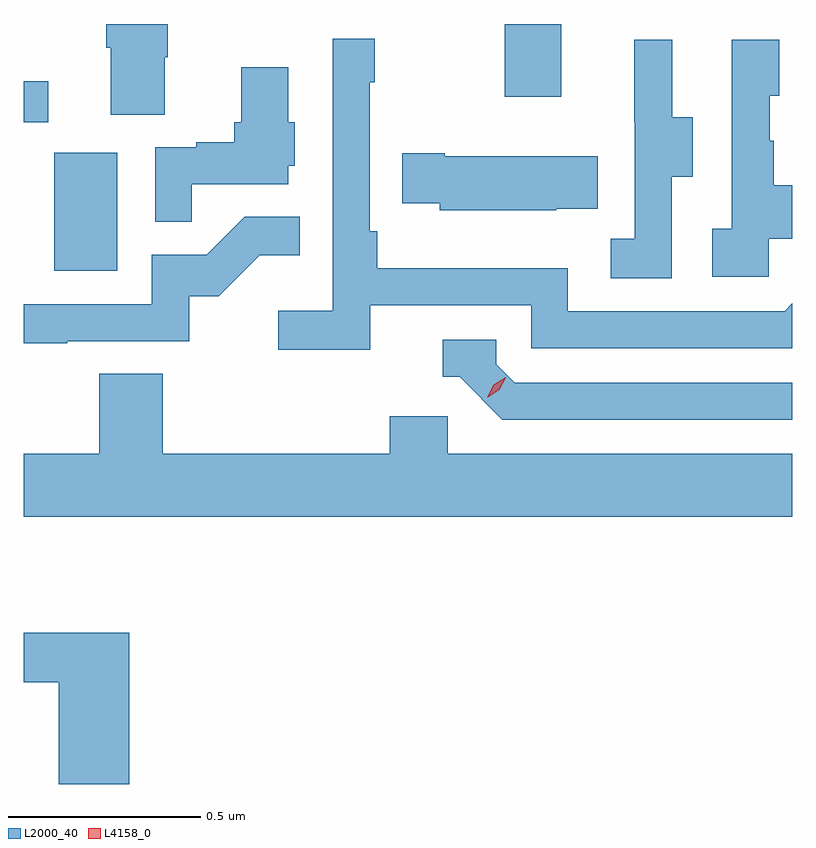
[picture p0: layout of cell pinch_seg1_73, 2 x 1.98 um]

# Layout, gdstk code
import gdstk
lib = gdstk.Library(unit=1e-6, precision=1e-09)
def R(c, l, rs):  # rectangles x0, y0, x1, y1
    for r in rs: c.add(gdstk.rectangle(r[:2], r[2:], *l))
def P(c, l, *ps):  # polygons
    for p in ps: c.add(gdstk.Polygon(p, *l))
L2000_40 = (2000, 40)
L4158_0 = (4158, 0)

pinch_seg1_73 = lib.new_cell('pinch_seg1_73')
R(pinch_seg1_73, L2000_40, [(1038.002,576.348,1038.166,576.655), (1037.922,576.735,1037.986,576.841), (1039.174,576.801,1039.321,576.99)])
P(pinch_seg1_73, L2000_40, [(1038.289,576.903),(1038.297,576.903),(1038.297,576.99),(1038.137,576.99),(1038.137,576.928),(1038.149,576.928),(1038.149,576.754),(1038.289,576.754)],
  [(1038.824,576.258),(1039.242,576.258),(1039.242,576.147),(1039.922,576.147),(1039.922,576.263),(1039.902,576.243),(1039.338,576.243),(1039.338,576.355),(1038.842,576.355),(1038.842,576.451),(1038.822,576.451),(1038.822,576.839),(1038.835,576.839),(1038.835,576.952),(1038.726,576.952),(1038.726,576.244),(1038.585,576.244),(1038.585,576.142),(1038.824,576.142)],
  [(1039.608,576.592),(1039.663,576.592),(1039.663,576.747),(1039.609,576.747),(1039.609,576.949),(1039.511,576.949),(1039.511,576.735),(1039.512,576.735),(1039.512,576.431),(1039.449,576.431),(1039.449,576.328),(1039.608,576.328)],
  [(1039.86,576.431),(1039.922,576.431),(1039.922,576.571),(1039.873,576.571),(1039.873,576.686),(1039.863,576.686),(1039.863,576.804),(1039.888,576.804),(1039.888,576.949),(1039.764,576.949),(1039.764,576.458),(1039.713,576.458),(1039.713,576.333),(1039.86,576.333)],
  [(1038.359,576.573),(1038.61,576.573),(1038.61,576.621),(1038.628,576.621),(1038.628,576.735),(1038.61,576.735),(1038.61,576.877),(1038.488,576.877),(1038.488,576.735),(1038.47,576.735),(1038.47,576.682),(1038.371,576.682),(1038.371,576.669),(1038.264,576.669),(1038.264,576.475),(1038.359,576.475)],
  [(1039.307,576.509),(1039.415,576.509),(1039.415,576.646),(1039.018,576.646),(1039.018,576.654),(1038.907,576.654),(1038.907,576.524),(1039.005,576.524),(1039.005,576.506),(1039.307,576.506)],
  [(1038.035,576.165),(1038.353,576.165),(1038.353,576.282),(1038.43,576.282),(1038.537,576.389),(1038.641,576.389),(1038.641,576.488),(1038.497,576.488),(1038.399,576.39),(1038.255,576.39),(1038.255,576.261),(1037.922,576.261),(1037.922,576.16),(1038.035,576.16)],
  [(1039.922,576.057),(1039.2,576.057),(1039.152,576.105),(1039.152,576.168),(1039.013,576.168),(1039.013,576.072),(1039.056,576.072),(1039.167,575.961),(1039.922,575.961)],
  [(1039.922,575.872),(1039.026,575.872),(1039.026,575.97),(1038.875,575.97),(1038.875,575.872),(1038.284,575.872),(1038.284,576.08),(1038.119,576.08),(1038.119,575.872),(1037.922,575.872),(1037.922,575.708),(1039.922,575.708)],
  [(1038.197,575.407),(1037.922,575.407),(1037.922,575.278),(1038.014,575.278),(1038.014,575.013),(1038.197,575.013)])
P(pinch_seg1_73, L4158_0, [(1039.128,576.019),(1039.128,576.019),(1039.145,576.052),(1039.176,576.071),(1039.176,576.071),(1039.176,576.07),(1039.16,576.038),(1039.129,576.019)])

lib.write_gds('pinch_seg1_73.gds')
